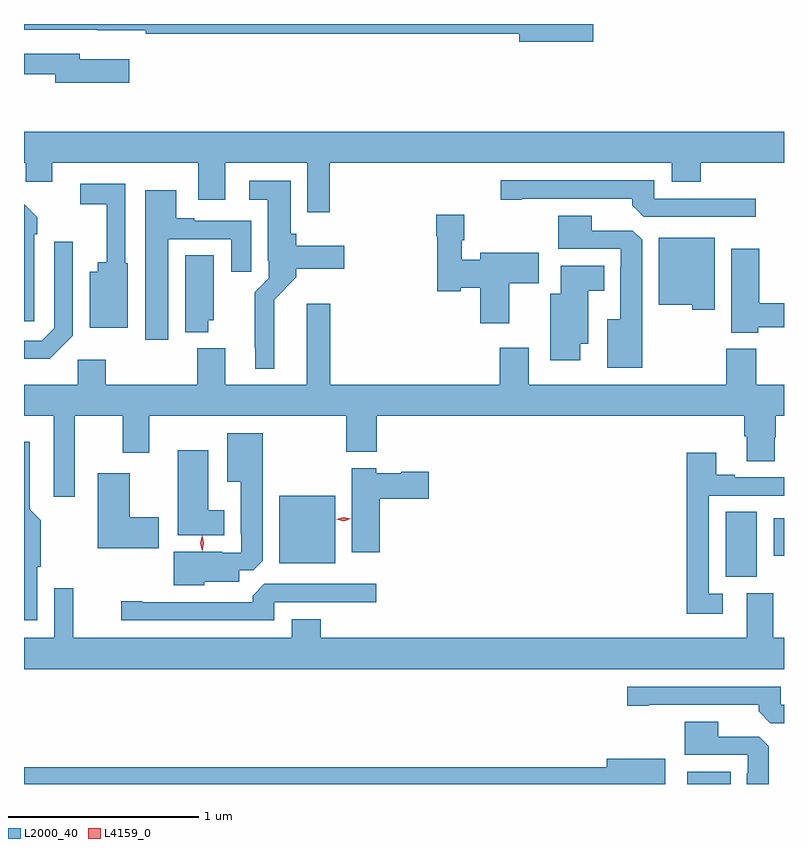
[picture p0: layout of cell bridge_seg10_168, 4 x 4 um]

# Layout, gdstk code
import gdstk
lib = gdstk.Library(unit=1e-6, precision=1e-09)
def R(c, l, rs):  # rectangles x0, y0, x1, y1
    for r in rs: c.add(gdstk.rectangle(r[:2], r[2:], *l))
def P(c, l, *ps):  # polygons
    for p in ps: c.add(gdstk.Polygon(p, *l))
L2000_40 = (2000, 40)
L4159_0 = (4159, 0)

bridge_seg10_168 = lib.new_cell('bridge_seg10_168')
R(bridge_seg10_168, L2000_40, [(229.943,1282.395,230.17,1282.459), (230.144,1283.485,230.308,1283.828), (227.795,1283.558,228.088,1283.911), (230.396,1283.597,230.451,1283.794)])
P(bridge_seg10_168, L2000_40, [(229.447,1286.395),(226.451,1286.395),(226.451,1286.364),(226.84,1286.364),(226.84,1286.363),(227.092,1286.363),(227.092,1286.344),(229.058,1286.344),(229.058,1286.302),(229.447,1286.302)],
  [(227.005,1286.209),(226.744,1286.209),(226.744,1286.238),(226.451,1286.238),(226.451,1286.13),(226.616,1286.13),(226.616,1286.087),(227.005,1286.087)],
  [(228.059,1285.664),(229.859,1285.664),(229.859,1285.565),(230.012,1285.565),(230.012,1285.664),(230.451,1285.664),(230.451,1285.828),(226.451,1285.828),(226.451,1285.664),(226.461,1285.664),(226.461,1285.566),(226.6,1285.566),(226.6,1285.664),(227.369,1285.664),(227.369,1285.47),(227.509,1285.47),(227.509,1285.664),(227.943,1285.664),(227.943,1285.404),(228.059,1285.404)],
  [(230.302,1285.476),(229.767,1285.476),(229.767,1285.572),(228.96,1285.572),(228.96,1285.471),(229.072,1285.471),(229.072,1285.476),(229.652,1285.476),(229.652,1285.442),(229.713,1285.38),(230.302,1285.38)],
  [(227.767,1284.944),(227.885,1285.062),(227.885,1285.106),(228.136,1285.106),(228.136,1285.228),(227.885,1285.228),(227.885,1285.29),(227.854,1285.29),(227.854,1285.57),(227.637,1285.57),(227.637,1285.469),(227.735,1285.469),(227.735,1285.15),(227.739,1285.15),(227.739,1285.056),(227.665,1284.982),(227.665,1284.691),(227.669,1284.691),(227.669,1284.581),(227.767,1284.581)],
  [(226.996,1285.137),(226.983,1285.137),(226.983,1285.554),(226.746,1285.554),(226.746,1285.446),(226.886,1285.446),(226.886,1285.141),(226.838,1285.141),(226.838,1285.09),(226.796,1285.09),(226.796,1284.797),(226.996,1284.797)],
  [(227.209,1285.263),(227.543,1285.263),(227.543,1285.092),(227.647,1285.092),(227.647,1285.359),(227.347,1285.359),(227.347,1285.372),(227.251,1285.372),(227.251,1285.519),(227.09,1285.519),(227.09,1284.732),(227.209,1284.732)],
  [(226.506,1285.289),(226.521,1285.289),(226.521,1285.377),(226.451,1285.447),(226.451,1284.831),(226.506,1284.831)],
  [(229.006,1285.03),(229.159,1285.03),(229.159,1285.192),(228.851,1285.192),(228.851,1285.154),(228.754,1285.154),(228.754,1285.257),(228.767,1285.257),(228.767,1285.39),(228.62,1285.39),(228.62,1285.277),(228.625,1285.277),(228.625,1284.989),(228.75,1284.989),(228.75,1285.007),(228.851,1285.007),(228.851,1284.819),(229.006,1284.819)],
  [(229.705,1285.259),(229.656,1285.308),(229.438,1285.308),(229.438,1285.387),(229.262,1285.387),(229.262,1285.212),(229.593,1285.212),(229.593,1285.115),(229.589,1285.115),(229.589,1284.841),(229.52,1284.841),(229.52,1284.587),(229.705,1284.587)],
  [(230.086,1285.27),(229.793,1285.27),(229.793,1284.917),(229.968,1284.917),(229.968,1284.89),(230.086,1284.89)],
  [(226.707,1284.753),(226.707,1285.249),(226.611,1285.249),(226.611,1284.795),(226.545,1284.729),(226.451,1284.729),(226.451,1284.632),(226.586,1284.632)],
  [(230.316,1284.798),(230.451,1284.798),(230.451,1284.926),(230.321,1284.926),(230.321,1285.213),(230.174,1285.213),(230.174,1284.77),(230.316,1284.77)],
  [(227.422,1284.837),(227.449,1284.837),(227.449,1285.178),(227.3,1285.178),(227.3,1284.773),(227.422,1284.773)],
  [(229.378,1284.713),(229.42,1284.713),(229.42,1284.992),(229.504,1284.992),(229.504,1285.123),(229.277,1285.123),(229.277,1284.976),(229.22,1284.976),(229.22,1284.624),(229.378,1284.624)],
  [(228.062,1284.922),(227.939,1284.922),(227.939,1284.496),(227.509,1284.496),(227.509,1284.688),(227.362,1284.688),(227.362,1284.496),(226.881,1284.496),(226.881,1284.628),(226.734,1284.628),(226.734,1284.496),(226.451,1284.496),(226.451,1284.332),(226.607,1284.332),(226.607,1283.907),(226.717,1283.907),(226.717,1284.332),(226.97,1284.332),(226.97,1284.138),(227.11,1284.138),(227.11,1284.332),(228.148,1284.332),(228.148,1284.143),(228.308,1284.143),(228.308,1284.332),(230.243,1284.332),(230.243,1284.226),(230.255,1284.226),(230.255,1284.094),(230.403,1284.094),(230.403,1284.219),(230.408,1284.219),(230.408,1284.332),(230.451,1284.332),(230.451,1284.496),(230.306,1284.496),(230.306,1284.685),(230.146,1284.685),(230.146,1284.496),(229.108,1284.496),(229.108,1284.691),(228.956,1284.691),(228.956,1284.496),(228.062,1284.496)],
  [(227.4,1283.459),(227.584,1283.459),(227.584,1283.52),(227.658,1283.52),(227.707,1283.569),(227.707,1284.241),(227.522,1284.241),(227.522,1283.987),(227.591,1283.987),(227.591,1283.713),(227.595,1283.713),(227.595,1283.613),(227.495,1283.613),(227.495,1283.617),(227.24,1283.617),(227.24,1283.441),(227.4,1283.441)],
  [(226.522,1283.538),(226.54,1283.538),(226.54,1283.783),(226.481,1283.842),(226.481,1283.941),(226.48,1283.941),(226.48,1284.196),(226.451,1284.196),(226.451,1283.258),(226.522,1283.258)],
  [(227.506,1283.836),(227.422,1283.836),(227.422,1284.151),(227.261,1284.151),(227.261,1283.705),(227.506,1283.705)],
  [(230.128,1283.397),(230.055,1283.397),(230.055,1283.913),(230.451,1283.913),(230.451,1284.009),(230.191,1284.009),(230.191,1284.022),(230.095,1284.022),(230.095,1284.139),(229.939,1284.139),(229.939,1283.292),(230.128,1283.292)],
  [(228.323,1283.897),(228.58,1283.897),(228.58,1284.039),(228.437,1284.039),(228.437,1284.031),(228.306,1284.031),(228.306,1284.058),(228.176,1284.058),(228.176,1283.616),(228.323,1283.616)],
  [(227.161,1283.799),(227.008,1283.799),(227.008,1284.031),(226.838,1284.031),(226.838,1283.636),(227.161,1283.636)],
  [(227.769,1283.352),(228.304,1283.352),(228.304,1283.448),(227.715,1283.448),(227.654,1283.386),(227.654,1283.352),(227.074,1283.352),(227.074,1283.357),(226.962,1283.357),(226.962,1283.256),(227.769,1283.256)],
  [(226.611,1283.425),(226.611,1283.164),(226.451,1283.164),(226.451,1283),(230.451,1283),(230.451,1283.164),(230.395,1283.164),(230.395,1283.4),(230.255,1283.4),(230.255,1283.164),(228.014,1283.164),(228.014,1283.263),(227.861,1283.263),(227.861,1283.164),(226.71,1283.164),(226.71,1283.425)],
  [(230.451,1282.812),(230.433,1282.812),(230.433,1282.908),(229.626,1282.908),(229.626,1282.807),(229.738,1282.807),(229.738,1282.812),(230.318,1282.812),(230.318,1282.778),(230.379,1282.716),(230.451,1282.716)],
  [(230.371,1282.595),(230.322,1282.644),(230.104,1282.644),(230.104,1282.723),(229.928,1282.723),(229.928,1282.548),(230.259,1282.548),(230.259,1282.451),(230.255,1282.451),(230.255,1282.395),(230.371,1282.395)],
  [(229.825,1282.528),(229.517,1282.528),(229.517,1282.484),(226.451,1282.484),(226.451,1282.395),(229.825,1282.395)])
P(bridge_seg10_168, L4159_0, [(228.133,1283.779),(228.095,1283.788),(228.094,1283.788),(228.095,1283.788),(228.133,1283.799),(228.172,1283.79),(228.172,1283.79),(228.172,1283.79)],
  [(227.388,1283.62),(227.388,1283.62),(227.378,1283.661),(227.388,1283.702),(227.388,1283.702),(227.388,1283.702),(227.398,1283.661),(227.388,1283.62)])

lib.write_gds('bridge_seg10_168.gds')
